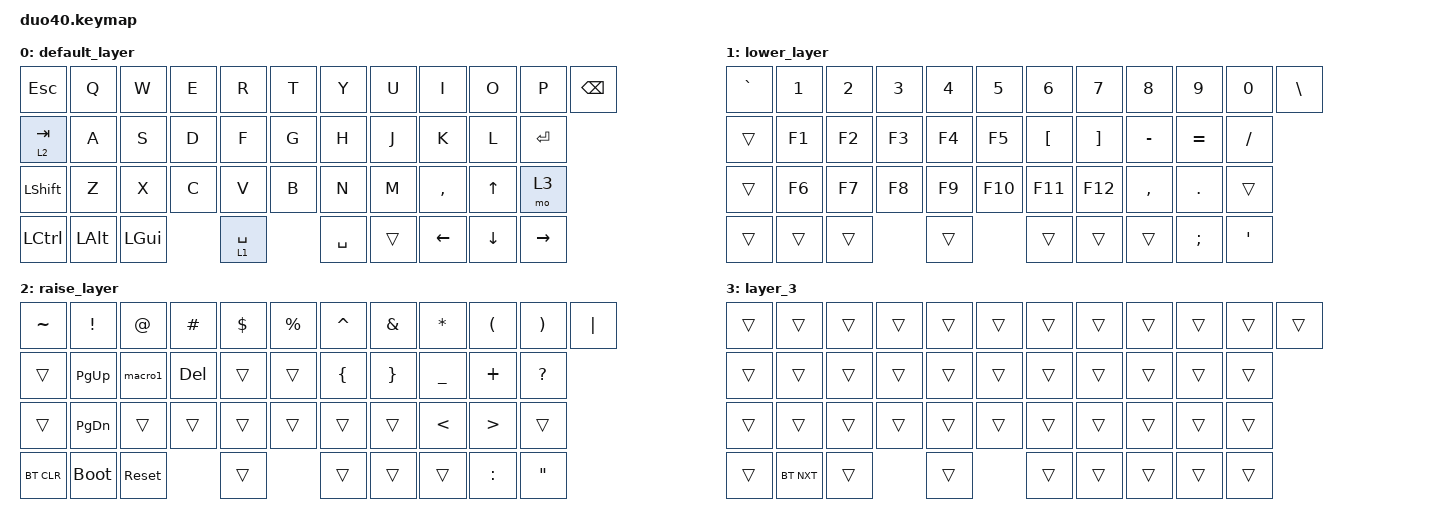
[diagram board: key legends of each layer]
/*
 * Copyright (c) 2022 LAZYDESIGNERS
 *
 * SPDX-License-Identifier: MIT
 */

#include <behaviors.dtsi>
#include <dt-bindings/zmk/bt.h>
#include <dt-bindings/zmk/keys.h>

#define DEFAULT 0
#define LOWER   1
#define RAISE   2
#define CONTROL 3

/ {
    macros {
        macro1: macro1 {
            compatible = "zmk,behavior-macro";
            label = "macro1";
            #binding-cells = <0>;
            bindings = <&kp A &kp D &kp A>;
        };
        macro2: macro2 {
            compatible = "zmk,behavior-macro";
            label = "macro2";
            #binding-cells = <0>;
            bindings = <&kp LS(J) &kp A &kp C &kp K &kp Y>;
        };
    };

    keymap {
        compatible = "zmk,keymap";

        default_layer {
            bindings = <
  &kp ESC     &kp Q     &kp W  &kp E        &kp R  &kp T      &kp Y   &kp U      &kp I     &kp O      &kp P  &kp BSPC
&lt 2 TAB     &kp A     &kp S  &kp D        &kp F  &kp G      &kp H   &kp J      &kp K     &kp L  &kp ENTER
&kp LSHFT     &kp Z     &kp X  &kp C        &kp V  &kp B      &kp N   &kp M  &kp COMMA    &kp UP      &mo 3
&kp LCTRL  &kp LALT  &kp LGUI         &lt 1 SPACE         &kp SPACE  &trans   &kp LEFT  &kp DOWN  &kp RIGHT
            >;
        };

        lower_layer {
            bindings = <
&kp GRAVE  &kp NUMBER_1  &kp N2  &kp N3  &kp N4   &kp N5    &kp N6    &kp N7     &kp N8      &kp N9          &kp N0  &kp BACKSLASH
   &trans        &kp F1  &kp F2  &kp F3  &kp F4   &kp F5  &kp LBKT  &kp RBKT  &kp MINUS   &kp EQUAL       &kp SLASH
   &trans        &kp F6  &kp F7  &kp F8  &kp F9  &kp F10   &kp F11   &kp F12  &kp COMMA  &kp PERIOD          &trans
   &trans        &trans  &trans          &trans             &trans    &trans     &trans    &kp SEMI  &kp APOSTROPHE
            >;
        };

        raise_layer {
            bindings = <
 &kp TILDE     &kp EXCL      &kp AT  &kp HASH  &kp DLLR  &kp PRCNT       &kp CARET         &kp AMPS   &kp STAR   &kp LPAR           &kp RPAR  &kp PIPE
    &trans    &kp PG_UP     &macro1   &kp DEL    &trans     &trans  &kp LEFT_BRACE  &kp RIGHT_BRACE  &kp UNDER   &kp PLUS       &kp QUESTION
    &trans    &kp PG_DN      &trans    &trans    &trans     &trans          &trans           &trans     &kp LT     &kp GT             &trans
&bt BT_CLR  &bootloader  &sys_reset              &trans                     &trans           &trans     &trans  &kp COLON  &kp DOUBLE_QUOTES
            >;
        };

        layer_3 {
            bindings = <
&trans      &trans  &trans  &trans  &trans  &trans  &trans  &trans  &trans  &trans  &trans  &trans
&trans      &trans  &trans  &trans  &trans  &trans  &trans  &trans  &trans  &trans  &trans
&trans      &trans  &trans  &trans  &trans  &trans  &trans  &trans  &trans  &trans  &trans
&trans  &bt BT_NXT  &trans          &trans          &trans  &trans  &trans  &trans  &trans
            >;
        };
    };
};
